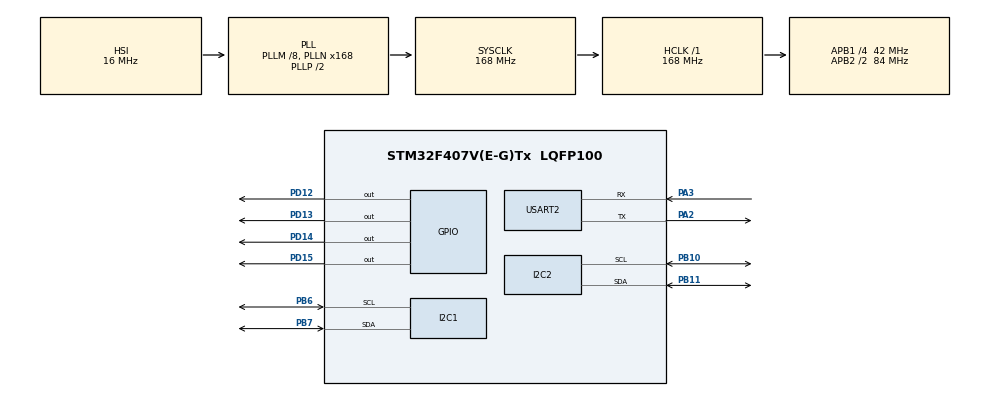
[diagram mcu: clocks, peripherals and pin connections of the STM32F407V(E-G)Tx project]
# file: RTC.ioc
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FREERTOS.Tasks01=defaultTask,0,128,StartDefaultTask,Default,NULL,Dynamic,NULL,NULL
FREERTOS.configTOTAL_HEAP_SIZE=20000
FREERTOS.configUSE_TIMERS=1
Mcu.Family=STM32F4
Mcu.Name=STM32F407V(E-G)Tx
Mcu.Package=LQFP100
NVIC.PriorityGroup=NVIC_PRIORITYGROUP_4
NVIC.USART2_IRQn=true\:5\:0\:false\:false\:true\:true\:true\:true\:true
PA13.Mode=Serial_Wire
PA13.Signal=SYS_JTMS-SWDIO
PA14.Mode=Serial_Wire
PA14.Signal=SYS_JTCK-SWCLK
PA2.Mode=Asynchronous
PA2.Signal=USART2_TX
PA3.Mode=Asynchronous
PA3.Signal=USART2_RX
PB10.Mode=I2C
PB10.Signal=I2C2_SCL
PB11.Mode=I2C
PB11.Signal=I2C2_SDA
PB6.Mode=I2C
PB6.Signal=I2C1_SCL
PB7.Mode=I2C
PB7.Signal=I2C1_SDA
PC14-OSC32_IN.Mode=LSE-External-Oscillator
PC14-OSC32_IN.Signal=RCC_OSC32_IN
PC15-OSC32_OUT.Mode=LSE-External-Oscillator
PC15-OSC32_OUT.Signal=RCC_OSC32_OUT
PD12.Signal=GPIO_Output
PD13.Signal=GPIO_Output
PD14.Signal=GPIO_Output
PD15.Signal=GPIO_Output
PH0-OSC_IN.Mode=HSE-External-Oscillator
PH0-OSC_IN.Signal=RCC_OSC_IN
PH1-OSC_OUT.Mode=HSE-External-Oscillator
PH1-OSC_OUT.Signal=RCC_OSC_OUT
ProjectManager.HeapSize=0x200
ProjectManager.StackSize=0x400
ProjectManager.TargetToolchain=STM32CubeIDE
RCC.48MHZClocksFreq_Value=84000000
RCC.AHBFreq_Value=168000000
RCC.APB1CLKDivider=RCC_HCLK_DIV4
RCC.APB1Freq_Value=42000000
RCC.APB1TimFreq_Value=84000000
RCC.APB2CLKDivider=RCC_HCLK_DIV2
RCC.APB2Freq_Value=84000000
RCC.APB2TimFreq_Value=168000000
RCC.CortexFreq_Value=168000000
RCC.HCLKFreq_Value=168000000
RCC.HSE_VALUE=25000000
RCC.HSI_VALUE=16000000
RCC.PLLM=8
RCC.PLLN=168
RCC.RCC_RTC_Clock_Source_FROM_HSE=RCC_RTCCLKSOURCE_HSE_DIV30
RCC.SYSCLKFreq_VALUE=168000000
RCC.SYSCLKSource=RCC_SYSCLKSOURCE_PLLCLK
RCC.VCOOutputFreq_Value=336000000
RTC.Alarm=RTC_ALARM_A
USART2.VirtualMode=VM_ASYNC
VP_FREERTOS_VS_CMSIS_V1.Mode=CMSIS_V1
VP_RTC_VS_RTC_Activate.Mode=RTC_Enabled
VP_RTC_VS_RTC_Alarm_A_Intern.Mode=Alarm A
VP_RTC_VS_RTC_Calendar.Mode=RTC_Calendar
board=custom

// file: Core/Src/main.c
/* USER CODE BEGIN Header */
/**
 ******************************************************************************
 * @file           : main.c
 * @brief          : Main program body
 ******************************************************************************
 * @attention
 *
 * Copyright (c) 2024 STMicroelectronics.
 * All rights reserved.
 *
 * This software is licensed under terms that can be found in the LICENSE file
 * in the root directory of this software component.
 * If no LICENSE file comes with this software, it is provided AS-IS.
 *
 ******************************************************************************
 */
/* USER CODE END Header */
#include "main.h"
#include "cmsis_os.h"

I2C_HandleTypeDef hi2c1;
I2C_HandleTypeDef hi2c2;

RTC_HandleTypeDef hrtc;

UART_HandleTypeDef huart2;

osThreadId defaultTaskHandle;
/* USER CODE BEGIN PV */

xTaskHandle handle_cmd_task;
xTaskHandle handle_menu_task;
xTaskHandle handle_led_task;
xTaskHandle handle_print_task;
xTaskHandle handle_rtc_task;
TimerHandle_t handle_led_timer[4];
TimerHandle_t rtc_timer;
QueueHandle_t q_data;
QueueHandle_t q_print;
/* USER CODE END PV */

void SystemClock_Config(void);
static void MX_GPIO_Init(void);
static void MX_I2C1_Init(void);
static void MX_I2C2_Init(void);
static void MX_RTC_Init(void);
static void MX_USART2_UART_Init(void);
void StartDefaultTask(void const * argument);

/* USER CODE BEGIN PFP */
void led_effect_callback(TimerHandle_t xTimer);
void rtc_report_callback(TimerHandle_t xTimer);
volatile uint8_t user_data;
/* USER CODE END PFP */

int main(void)
{

  /* MCU Configuration--------------------------------------------------------*/

  /* Reset of all peripherals, Initializes the Flash interface and the Systick. */
  HAL_Init();

  /* Configure the system clock */
  SystemClock_Config();

  /* Initialize all configured peripherals */
  MX_GPIO_Init();
  MX_I2C1_Init();
  MX_I2C2_Init();
  MX_RTC_Init();
  MX_USART2_UART_Init();
  /* USER CODE BEGIN 2 */

	xTaskCreate(menu_task, "menu_task", 200, NULL, 2, &handle_menu_task);
	xTaskCreate(cmd_handler_task, "cmd_task", 200, NULL, 2, &handle_cmd_task);
	xTaskCreate(print_task, "print_task", 200, NULL, 2, &handle_print_task);
	xTaskCreate(led_task, "led_task", 200, NULL, 2, &handle_led_task);
	xTaskCreate(rtc_task, "rtc_task", 200, NULL, 2, &handle_rtc_task);

	q_data = xQueueCreate(10, sizeof(char));
	q_print = xQueueCreate(10, sizeof(size_t));
	for (int i = 0; i < 4; i++) {
		handle_led_timer[i] = xTimerCreate("led_timer", pdMS_TO_TICKS(1000),
				pdTRUE, (void*) (i + 1), led_effect_callback);
		led_effect(&i);

	}
	rtc_timer = xTimerCreate("rtc_report_timer", pdMS_TO_TICKS(1000), pdTRUE,
			NULL, rtc_report_callback);
	HAL_UART_Receive_IT(&huart2, (uint8_t*)&user_data, 1);
	vTaskStartScheduler();
  /* USER CODE END 2 */

  /* USER CODE BEGIN RTOS_TIMERS */
//  /* start timers, add new ones, ... */
  /* USER CODE END RTOS_TIMERS */

  /* USER CODE BEGIN RTOS_QUEUES */
//  /* add queues, ... */
  /* USER CODE END RTOS_QUEUES */

  /* Create the thread(s) */
  /* definition and creation of defaultTask */
//  osThreadDef(defaultTask, StartDefaultTask, osPriorityNormal, 0, 128);
//  defaultTaskHandle = osThreadCreate(osThread(defaultTask), NULL);
//
//  /* USER CODE BEGIN RTOS_THREADS */
//////	/* add threads, ... */
//  /* USER CODE END RTOS_THREADS */
//
//  /* Start scheduler */
//  osKernelStart();

  /* We should never get here as control is now taken by the scheduler */

  /* Infinite loop */
	while (1) {

	}
}

void SystemClock_Config(void)
{
  RCC_OscInitTypeDef RCC_OscInitStruct = {0};
  RCC_ClkInitTypeDef RCC_ClkInitStruct = {0};

  /** Configure the main internal regulator output voltage
  */
  __HAL_RCC_PWR_CLK_ENABLE();
  __HAL_PWR_VOLTAGESCALING_CONFIG(PWR_REGULATOR_VOLTAGE_SCALE1);

  /** Initializes the RCC Oscillators according to the specified parameters
  * in the RCC_OscInitTypeDef structure.
  */
  RCC_OscInitStruct.OscillatorType = RCC_OSCILLATORTYPE_HSI|RCC_OSCILLATORTYPE_LSI;
  RCC_OscInitStruct.HSIState = RCC_HSI_ON;
  RCC_OscInitStruct.HSICalibrationValue = RCC_HSICALIBRATION_DEFAULT;
  RCC_OscInitStruct.LSIState = RCC_LSI_ON;
  RCC_OscInitStruct.PLL.PLLState = RCC_PLL_ON;
  RCC_OscInitStruct.PLL.PLLSource = RCC_PLLSOURCE_HSI;
  RCC_OscInitStruct.PLL.PLLM = 8;
  RCC_OscInitStruct.PLL.PLLN = 168;
  RCC_OscInitStruct.PLL.PLLP = RCC_PLLP_DIV2;
  RCC_OscInitStruct.PLL.PLLQ = 4;
  if (HAL_RCC_OscConfig(&RCC_OscInitStruct) != HAL_OK)
  {
    Error_Handler();
  }

  /** Initializes the CPU, AHB and APB buses clocks
  */
  RCC_ClkInitStruct.ClockType = RCC_CLOCKTYPE_HCLK|RCC_CLOCKTYPE_SYSCLK
                              |RCC_CLOCKTYPE_PCLK1|RCC_CLOCKTYPE_PCLK2;
  RCC_ClkInitStruct.SYSCLKSource = RCC_SYSCLKSOURCE_PLLCLK;
  RCC_ClkInitStruct.AHBCLKDivider = RCC_SYSCLK_DIV1;
  RCC_ClkInitStruct.APB1CLKDivider = RCC_HCLK_DIV4;
  RCC_ClkInitStruct.APB2CLKDivider = RCC_HCLK_DIV2;

  if (HAL_RCC_ClockConfig(&RCC_ClkInitStruct, FLASH_LATENCY_5) != HAL_OK)
  {
    Error_Handler();
  }
}

static void MX_I2C1_Init(void)
{

  hi2c1.Instance = I2C1;
  hi2c1.Init.ClockSpeed = 100000;
  hi2c1.Init.DutyCycle = I2C_DUTYCYCLE_2;
  hi2c1.Init.OwnAddress1 = 0;
  hi2c1.Init.AddressingMode = I2C_ADDRESSINGMODE_7BIT;
  hi2c1.Init.DualAddressMode = I2C_DUALADDRESS_DISABLE;
  hi2c1.Init.OwnAddress2 = 0;
  hi2c1.Init.GeneralCallMode = I2C_GENERALCALL_DISABLE;
  hi2c1.Init.NoStretchMode = I2C_NOSTRETCH_DISABLE;
  if (HAL_I2C_Init(&hi2c1) != HAL_OK)
  {
    Error_Handler();
  }

}

static void MX_I2C2_Init(void)
{

  hi2c2.Instance = I2C2;
  hi2c2.Init.ClockSpeed = 100000;
  hi2c2.Init.DutyCycle = I2C_DUTYCYCLE_2;
  hi2c2.Init.OwnAddress1 = 0;
  hi2c2.Init.AddressingMode = I2C_ADDRESSINGMODE_7BIT;
  hi2c2.Init.DualAddressMode = I2C_DUALADDRESS_DISABLE;
  hi2c2.Init.OwnAddress2 = 0;
  hi2c2.Init.GeneralCallMode = I2C_GENERALCALL_DISABLE;
  hi2c2.Init.NoStretchMode = I2C_NOSTRETCH_DISABLE;
  if (HAL_I2C_Init(&hi2c2) != HAL_OK)
  {
    Error_Handler();
  }

}

static void MX_RTC_Init(void)
{

  RTC_TimeTypeDef sTime = {0};
  RTC_DateTypeDef sDate = {0};
  RTC_AlarmTypeDef sAlarm = {0};

  /** Initialize RTC Only
  */
  hrtc.Instance = RTC;
  hrtc.Init.HourFormat = RTC_HOURFORMAT_24;
  hrtc.Init.AsynchPrediv = 127;
  hrtc.Init.SynchPrediv = 255;
  hrtc.Init.OutPut = RTC_OUTPUT_DISABLE;
  hrtc.Init.OutPutPolarity = RTC_OUTPUT_POLARITY_HIGH;
  hrtc.Init.OutPutType = RTC_OUTPUT_TYPE_OPENDRAIN;
  if (HAL_RTC_Init(&hrtc) != HAL_OK)
  {
    Error_Handler();
  }

  /** Initialize RTC and set the Time and Date
  */
  sTime.Hours = 0x0;
  sTime.Minutes = 0x0;
  sTime.Seconds = 0x0;
  sTime.DayLightSaving = RTC_DAYLIGHTSAVING_NONE;
  sTime.StoreOperation = RTC_STOREOPERATION_RESET;
  if (HAL_RTC_SetTime(&hrtc, &sTime, RTC_FORMAT_BCD) != HAL_OK)
  {
    Error_Handler();
  }
  sDate.WeekDay = RTC_WEEKDAY_MONDAY;
  sDate.Month = RTC_MONTH_JANUARY;
  sDate.Date = 0x1;
  sDate.Year = 0x0;

  if (HAL_RTC_SetDate(&hrtc, &sDate, RTC_FORMAT_BCD) != HAL_OK)
  {
    Error_Handler();
  }

  /** Enable the Alarm A
  */
  sAlarm.AlarmTime.Hours = 0x0;
  sAlarm.AlarmTime.Minutes = 0x0;
  sAlarm.AlarmTime.Seconds = 0x0;
  sAlarm.AlarmTime.SubSeconds = 0x0;
  sAlarm.AlarmTime.DayLightSaving = RTC_DAYLIGHTSAVING_NONE;
  sAlarm.AlarmTime.StoreOperation = RTC_STOREOPERATION_RESET;
  sAlarm.AlarmMask = RTC_ALARMMASK_NONE;
  sAlarm.AlarmSubSecondMask = RTC_ALARMSUBSECONDMASK_ALL;
  sAlarm.AlarmDateWeekDaySel = RTC_ALARMDATEWEEKDAYSEL_DATE;
  sAlarm.AlarmDateWeekDay = 0x1;
  sAlarm.Alarm = RTC_ALARM_A;
  if (HAL_RTC_SetAlarm(&hrtc, &sAlarm, RTC_FORMAT_BCD) != HAL_OK)
  {
    Error_Handler();
  }

}

static void MX_USART2_UART_Init(void)
{

  huart2.Instance = USART2;
  huart2.Init.BaudRate = 115200;
  huart2.Init.WordLength = UART_WORDLENGTH_8B;
  huart2.Init.StopBits = UART_STOPBITS_1;
  huart2.Init.Parity = UART_PARITY_NONE;
  huart2.Init.Mode = UART_MODE_TX_RX;
  huart2.Init.HwFlowCtl = UART_HWCONTROL_NONE;
  huart2.Init.OverSampling = UART_OVERSAMPLING_16;
  if (HAL_UART_Init(&huart2) != HAL_OK)
  {
    Error_Handler();
  }

}

static void MX_GPIO_Init(void)
{
  GPIO_InitTypeDef GPIO_InitStruct = {0};

  /* GPIO Ports Clock Enable */
  __HAL_RCC_GPIOC_CLK_ENABLE();
  __HAL_RCC_GPIOH_CLK_ENABLE();
  __HAL_RCC_GPIOA_CLK_ENABLE();
  __HAL_RCC_GPIOB_CLK_ENABLE();
  __HAL_RCC_GPIOD_CLK_ENABLE();

  /*Configure GPIO pin Output Level */
  HAL_GPIO_WritePin(GPIOD, GPIO_PIN_12|GPIO_PIN_13|GPIO_PIN_14|GPIO_PIN_15, GPIO_PIN_RESET);

  /*Configure GPIO pins : PD12 PD13 PD14 PD15 */
  GPIO_InitStruct.Pin = GPIO_PIN_12|GPIO_PIN_13|GPIO_PIN_14|GPIO_PIN_15;
  GPIO_InitStruct.Mode = GPIO_MODE_OUTPUT_PP;
  GPIO_InitStruct.Pull = GPIO_NOPULL;
  GPIO_InitStruct.Speed = GPIO_SPEED_FREQ_LOW;
  HAL_GPIO_Init(GPIOD, &GPIO_InitStruct);

}

/* USER CODE BEGIN 4 */
void led_effect_callback(TimerHandle_t xTimer) {
	int id = (uint32_t) pvTimerGetTimerID(xTimer);

	switch (id) {
	case 1:
		led_effect1();
		break;
	case 2:
		led_effect2();
		break;
	case 3:
		led_effect3();
		break;
	case 4:
		led_effect4();
		break;

	}
}
void rtc_report_callback(TimerHandle_t xTimer) {
	show_time_data_itm();
}
void HAL_UART_RxCpltCallback(UART_HandleTypeDef *huart){
	uint8_t dummy;
	for(uint32_t i = 0 ; i < 4000 ; i++);

	if( !xQueueIsQueueFullFromISR(q_data)){
		xQueueSendFromISR(q_data,(void*)&user_data,NULL);
	}
	else{
		if(user_data == '\n'){
			xQueueReceiveFromISR(q_data, (void*)&dummy, NULL);
			xQueueSendFromISR(q_data,(void*)&user_data,NULL);
		}
	}
	if( user_data == '\n'){
		xTaskNotifyFromISR(handle_cmd_task,0,eNoAction,NULL);
	}
	HAL_UART_Receive_IT(&huart2, (uint8_t*)&user_data, 1);
}
/* USER CODE END 4 */

//void StartDefaultTask(void const * argument)
//{
//  /* USER CODE BEGIN 5 */
////////  /* Infinite loop */
////////  for(;;)
////////  {
////////    osDelay(1);
////////  }
//  /* USER CODE END 5 */
//}

void Error_Handler(void)
{
	__disable_irq();
	while (1) {
	}
}
